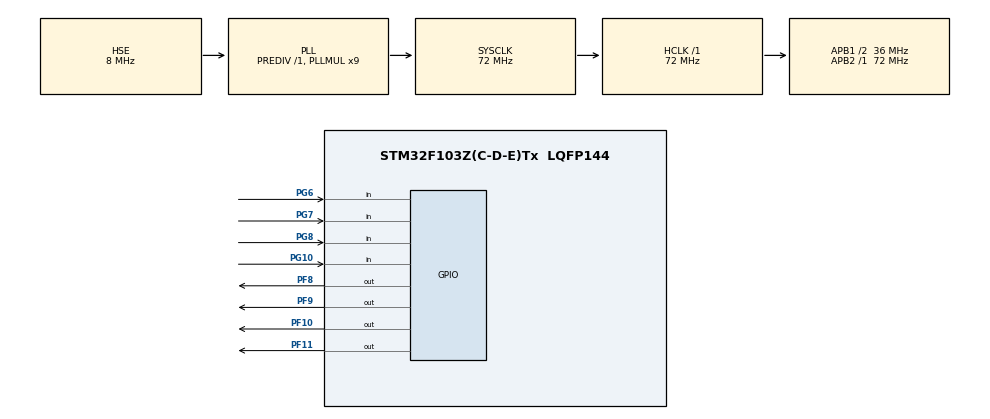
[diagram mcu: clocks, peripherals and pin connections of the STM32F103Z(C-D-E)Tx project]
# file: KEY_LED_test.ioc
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Mcu.Family=STM32F1
Mcu.Name=STM32F103Z(C-D-E)Tx
Mcu.Package=LQFP144
NVIC.PriorityGroup=NVIC_PRIORITYGROUP_4
OSC_IN.Mode=HSE-External-Oscillator
OSC_IN.Signal=RCC_OSC_IN
OSC_OUT.Mode=HSE-External-Oscillator
OSC_OUT.Signal=RCC_OSC_OUT
PA13.Mode=Serial_Wire
PA13.Signal=SYS_JTMS-SWDIO
PA14.Mode=Serial_Wire
PA14.Signal=SYS_JTCK-SWCLK
PF10.GPIO_ModeDefaultOutputPP=GPIO_MODE_OUTPUT_OD
PF10.GPIO_PuPd=GPIO_NOPULL
PF10.PinState=GPIO_PIN_RESET
PF10.Signal=GPIO_Output
PF11.GPIO_ModeDefaultOutputPP=GPIO_MODE_OUTPUT_OD
PF11.GPIO_PuPd=GPIO_NOPULL
PF11.PinState=GPIO_PIN_RESET
PF11.Signal=GPIO_Output
PF8.GPIO_ModeDefaultOutputPP=GPIO_MODE_OUTPUT_OD
PF8.GPIO_PuPd=GPIO_NOPULL
PF8.PinState=GPIO_PIN_SET
PF8.Signal=GPIO_Output
PF9.GPIO_ModeDefaultOutputPP=GPIO_MODE_OUTPUT_OD
PF9.GPIO_PuPd=GPIO_NOPULL
PF9.PinState=GPIO_PIN_SET
PF9.Signal=GPIO_Output
PG10.Signal=GPIO_Input
PG6.Signal=GPIO_Input
PG7.Signal=GPIO_Input
PG8.Signal=GPIO_Input
ProjectManager.HeapSize=0x200
ProjectManager.StackSize=0x400
ProjectManager.TargetToolchain=MDK-ARM V5.32
RCC.AHBFreq_Value=72000000
RCC.APB1CLKDivider=RCC_HCLK_DIV2
RCC.APB1Freq_Value=36000000
RCC.APB1TimFreq_Value=72000000
RCC.APB2Freq_Value=72000000
RCC.APB2TimFreq_Value=72000000
RCC.HCLKFreq_Value=72000000
RCC.PLLMUL=RCC_PLL_MUL9
RCC.PLLSourceVirtual=RCC_PLLSOURCE_HSE
RCC.SYSCLKFreq_VALUE=72000000
RCC.SYSCLKSource=RCC_SYSCLKSOURCE_PLLCLK
RCC.USBFreq_Value=72000000
board=custom

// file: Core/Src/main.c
/* USER CODE BEGIN Header */
/**
 ******************************************************************************
 * @file           : main.c
 * @brief          : Main program body
 ******************************************************************************
 * @attention
 *
 * Copyright (c) 2026 STMicroelectronics.
 * All rights reserved.
 *
 * This software is licensed under terms that can be found in the LICENSE file
 * in the root directory of this software component.
 * If no LICENSE file comes with this software, it is provided AS-IS.
 *
 ******************************************************************************
 */
/* USER CODE END Header */
#include "main.h"

/* USER CODE BEGIN Includes */
#include <stdbool.h>
/* USER CODE END Includes */

/* USER CODE BEGIN PTD */
typedef enum
{
  LED1 = 1,
  LED2,
  LED3,
  LED4
} LED_t;

typedef enum
{
  KEY1 = 1,
  KEY2,
  KEY3,
  KEY4
} KEY_t;

/* USER CODE END PTD */

/* USER CODE BEGIN PD */
// bool led_state = false; // false: 灭 true：亮
const uint32_t KEY_DEBOUNCE_MS = 20; // 20ms
/* USER CODE END PD */

void SystemClock_Config(void);
static void MX_GPIO_Init(void);
/* USER CODE BEGIN PFP */
void BSP_LED_Control(LED_t led, bool flag);
void BSP_LED_On(LED_t led);
void BSP_LED_Off(LED_t led);
bool BSP_KEY_IsPressed_V1(KEY_t key);
bool BSP_KEY_IsPressed_V2(KEY_t key);

/* USER CODE END PFP */

int main(void)
{

  /* MCU Configuration--------------------------------------------------------*/

  /* Reset of all peripherals, Initializes the Flash interface and the Systick. */
  HAL_Init();

  /* Configure the system clock */
  SystemClock_Config();

  /* Initialize all configured peripherals */
  MX_GPIO_Init();
  /* USER CODE BEGIN 2 */
  HAL_Delay(5000);
  /* USER CODE END 2 */

  /* Infinite loop */
  /* USER CODE BEGIN WHILE */
  while (1)
  {
    // verison3
    BSP_KEY_IsPressed_V2(KEY1) ? BSP_LED_On(LED1) : BSP_LED_Off(LED1);
    BSP_KEY_IsPressed_V2(KEY2) ? BSP_LED_On(LED2) : BSP_LED_Off(LED2);
    BSP_KEY_IsPressed_V2(KEY3) ? BSP_LED_On(LED3) : BSP_LED_Off(LED3);
    BSP_KEY_IsPressed_V2(KEY4) ? BSP_LED_On(LED4) : BSP_LED_Off(LED4);

    // version2-2
    // if(HAL_GPIO_ReadPin(GPIOG, GPIO_PIN_10) == GPIO_PIN_RESET)
    // {
    //   // 延时消抖
    //   HAL_Delay(KEY_DEBOUNCE_MS);
    //   if(HAL_GPIO_ReadPin(GPIOG, GPIO_PIN_10) == GPIO_PIN_RESET)
    //   {
    //     led_state = !led_state;
    //     HAL_GPIO_WritePin(GPIOF, GPIO_PIN_8, led_state? GPIO_PIN_RESET:GPIO_PIN_SET);
    //   }
    //   // 不光要考虑用户按下的问题，也要考虑用户放开的结果
    //   while(HAL_GPIO_ReadPin(GPIOG, GPIO_PIN_10) == GPIO_PIN_RESET);
    // }

    // version2-1
    // if (HAL_GPIO_ReadPin(GPIOG, GPIO_PIN_10) == GPIO_PIN_RESET)
    // {
    //   led_state = !led_state;
    //   HAL_GPIO_WritePin(GPIOF, GPIO_PIN_8, (led_state ? GPIO_PIN_RESET : GPIO_PIN_SET));
    // }

    // 开关已经被按下了
    // verison1
    // if(HAL_GPIO_ReadPin(GPIOG, GPIO_PIN_10) == GPIO_PIN_RESET)
    // {
    //   HAL_GPIO_WritePin(GPIOF, GPIO_PIN_8, GPIO_PIN_RESET); // 开漏模式，写0，点亮LED灯
    // }
    // else{
    //   HAL_GPIO_WritePin(GPIOF, GPIO_PIN_8, GPIO_PIN_SET); // 开漏模式，写0，点亮LED灯
    // }
    /* USER CODE END WHILE */

  }
}

void SystemClock_Config(void)
{
  RCC_OscInitTypeDef RCC_OscInitStruct = {0};
  RCC_ClkInitTypeDef RCC_ClkInitStruct = {0};

  /** Initializes the RCC Oscillators according to the specified parameters
  * in the RCC_OscInitTypeDef structure.
  */
  RCC_OscInitStruct.OscillatorType = RCC_OSCILLATORTYPE_HSE;
  RCC_OscInitStruct.HSEState = RCC_HSE_ON;
  RCC_OscInitStruct.HSEPredivValue = RCC_HSE_PREDIV_DIV1;
  RCC_OscInitStruct.HSIState = RCC_HSI_ON;
  RCC_OscInitStruct.PLL.PLLState = RCC_PLL_ON;
  RCC_OscInitStruct.PLL.PLLSource = RCC_PLLSOURCE_HSE;
  RCC_OscInitStruct.PLL.PLLMUL = RCC_PLL_MUL9;
  if (HAL_RCC_OscConfig(&RCC_OscInitStruct) != HAL_OK)
  {
    Error_Handler();
  }

  /** Initializes the CPU, AHB and APB buses clocks
  */
  RCC_ClkInitStruct.ClockType = RCC_CLOCKTYPE_HCLK|RCC_CLOCKTYPE_SYSCLK
                              |RCC_CLOCKTYPE_PCLK1|RCC_CLOCKTYPE_PCLK2;
  RCC_ClkInitStruct.SYSCLKSource = RCC_SYSCLKSOURCE_PLLCLK;
  RCC_ClkInitStruct.AHBCLKDivider = RCC_SYSCLK_DIV1;
  RCC_ClkInitStruct.APB1CLKDivider = RCC_HCLK_DIV2;
  RCC_ClkInitStruct.APB2CLKDivider = RCC_HCLK_DIV1;

  if (HAL_RCC_ClockConfig(&RCC_ClkInitStruct, FLASH_LATENCY_2) != HAL_OK)
  {
    Error_Handler();
  }
}

static void MX_GPIO_Init(void)
{
  GPIO_InitTypeDef GPIO_InitStruct = {0};

  /* GPIO Ports Clock Enable */
  __HAL_RCC_GPIOF_CLK_ENABLE();
  __HAL_RCC_GPIOG_CLK_ENABLE();
  __HAL_RCC_GPIOA_CLK_ENABLE();

  /*Configure GPIO pin Output Level */
  HAL_GPIO_WritePin(GPIOF, GPIO_PIN_8|GPIO_PIN_9, GPIO_PIN_SET);

  /*Configure GPIO pin Output Level */
  HAL_GPIO_WritePin(GPIOF, GPIO_PIN_10|GPIO_PIN_11, GPIO_PIN_RESET);

  /*Configure GPIO pins : PF8 PF9 PF10 PF11 */
  GPIO_InitStruct.Pin = GPIO_PIN_8|GPIO_PIN_9|GPIO_PIN_10|GPIO_PIN_11;
  GPIO_InitStruct.Mode = GPIO_MODE_OUTPUT_OD;
  GPIO_InitStruct.Pull = GPIO_NOPULL;
  GPIO_InitStruct.Speed = GPIO_SPEED_FREQ_LOW;
  HAL_GPIO_Init(GPIOF, &GPIO_InitStruct);

  /*Configure GPIO pins : PG6 PG7 PG8 PG10 */
  GPIO_InitStruct.Pin = GPIO_PIN_6|GPIO_PIN_7|GPIO_PIN_8|GPIO_PIN_10;
  GPIO_InitStruct.Mode = GPIO_MODE_INPUT;
  GPIO_InitStruct.Pull = GPIO_NOPULL;
  HAL_GPIO_Init(GPIOG, &GPIO_InitStruct);

}

/* USER CODE BEGIN 4 */

// 关于灯的函数 , BSP : Board Support Package:板级支持包

// flag: true -> 点亮，false->熄灭
void BSP_LED_Control(LED_t led, bool flag)
{
  GPIO_PinState state = flag ? GPIO_PIN_RESET : GPIO_PIN_SET;
  switch (led)
  {
  case LED1:
    HAL_GPIO_WritePin(GPIOF, GPIO_PIN_8, state);
    break;
  case LED2:
    HAL_GPIO_WritePin(GPIOF, GPIO_PIN_9, state);
    break;
  case LED3:
    HAL_GPIO_WritePin(GPIOF, GPIO_PIN_10, state);
    break;
  case LED4:
    HAL_GPIO_WritePin(GPIOF, GPIO_PIN_11, state);
    break;
  default:
    break;
  }
}

void BSP_LED_On(LED_t led)
{
  BSP_LED_Control(led, true);
}
void BSP_LED_Off(LED_t led)
{
  BSP_LED_Control(led, false);
}

// 关于按键的函数
// 按键被按下：true, 否则：false
// 不要消抖的版本 -- verison1
bool BSP_KEY_IsPressed_V1(KEY_t key)
{
  bool ret = false;
  switch (key)
  {
  case KEY1: // PG10
    ret = (HAL_GPIO_ReadPin(GPIOG, GPIO_PIN_10) == GPIO_PIN_RESET);
    break;
  case KEY2: // PG6
    ret = (HAL_GPIO_ReadPin(GPIOG, GPIO_PIN_6) == GPIO_PIN_RESET);
    break;
  case KEY3: // PG8
    ret = (HAL_GPIO_ReadPin(GPIOG, GPIO_PIN_8) == GPIO_PIN_RESET);
    break;
  case KEY4: // PG7
    ret = (HAL_GPIO_ReadPin(GPIOG, GPIO_PIN_7) == GPIO_PIN_RESET);
    break;
  default:
    break;
  }
  return ret;
}
// 消抖的版本 -- verison2
bool BSP_KEY_IsPressed_V2(KEY_t key)
{
  bool ret = false;
  switch (key)
  {
  case KEY1: // PG10
  {
    if (HAL_GPIO_ReadPin(GPIOG, GPIO_PIN_10) == GPIO_PIN_RESET)
    {
      HAL_Delay(KEY_DEBOUNCE_MS);
      if (HAL_GPIO_ReadPin(GPIOG, GPIO_PIN_10) == GPIO_PIN_RESET)
      {
        ret = true;
      }
    }
  }
  break;
  case KEY2: // PG6
  {
    if (HAL_GPIO_ReadPin(GPIOG, GPIO_PIN_6) == GPIO_PIN_RESET)
    {
      HAL_Delay(KEY_DEBOUNCE_MS);
      if (HAL_GPIO_ReadPin(GPIOG, GPIO_PIN_6) == GPIO_PIN_RESET)
      {
        ret = true;
      }
    }
  }
  break;
  case KEY3: // PG8
  {
    if (HAL_GPIO_ReadPin(GPIOG, GPIO_PIN_8) == GPIO_PIN_RESET)
    {
      HAL_Delay(KEY_DEBOUNCE_MS);
      if (HAL_GPIO_ReadPin(GPIOG, GPIO_PIN_8) == GPIO_PIN_RESET)
      {
        ret = true;
      }
    }
  }
  break;
  case KEY4: // PG7
  {
    if (HAL_GPIO_ReadPin(GPIOG, GPIO_PIN_7) == GPIO_PIN_RESET)
    {
      HAL_Delay(KEY_DEBOUNCE_MS);
      if (HAL_GPIO_ReadPin(GPIOG, GPIO_PIN_7) == GPIO_PIN_RESET)
      {
        ret = true;
      }
    }
  }
  break;
  default:
    break;
  }
  return ret;
}

/* USER CODE END 4 */

void Error_Handler(void)
{
  __disable_irq();
  while (1)
  {
  }
}
